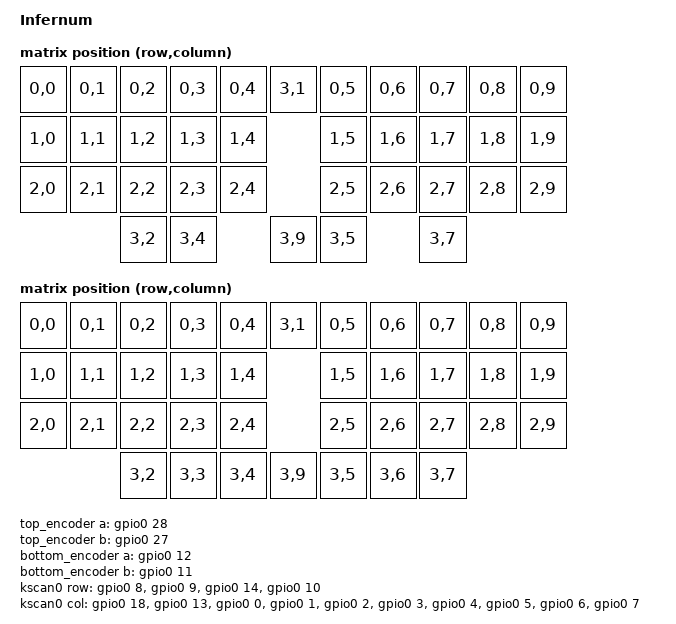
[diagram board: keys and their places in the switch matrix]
/*
 * Copyright (c) 2024 The ZMK Contributors
 * SPDX-License-Identifier: MIT
 */

/dts-v1/;

#include <rpi_pico/rp2040.dtsi>
#include <dt-bindings/zmk/matrix_transform.h>
#include <dt-bindings/led/led.h>
#include <dt-bindings/pinctrl/rpi-pico-rp2040-pinctrl.h>


/ {
    model = "Infernum";
	compatible = "raspberrypi,rp2040";

    chosen {
        zephyr,sram = &sram0;
        zephyr,flash = &flash0;
		zephyr,flash-controller = &ssi; //?? pete only
		// zephyr,console = &uart0; //?? pete only, but not sure whether special uart is needed for non-split
        zephyr,console = &cdc_acm_uart; //?? de60 only
        // zephyr,shell-uart = &cdc_acm_uart; //?? de60 only
        zephyr,code-partition = &code_partition;
        zmk,kscan = &kscan0;
        zmk,matrix-transform = &default_transform;
        // zmk,underglow = &ws2812; // de60 name
        zmk,underglow = &led_strip; // zmk docs name
    };

    xtal_clk: xtal-clk {
        compatible = "fixed-clock";
        clock-frequency = <12000000>;
        #clock-cells = <0>;
    };

    double_3u_transform: keymap_transform_0 {
        compatible = "zmk,matrix-transform";
        columns = <10>;
        rows = <4>;
        map = <
			RC(0,0) RC(0,1) RC(0,2) RC(0,3) RC(0,4) RC(3,1) RC(0,5) RC(0,6) RC(0,7) RC(0,8) RC(0,9)
			RC(1,0) RC(1,1) RC(1,2) RC(1,3) RC(1,4)         RC(1,5) RC(1,6) RC(1,7) RC(1,8) RC(1,9)
			RC(2,0) RC(2,1) RC(2,2) RC(2,3) RC(2,4)         RC(2,5) RC(2,6) RC(2,7) RC(2,8) RC(2,9)
			             RC(3,2)        RC(3,4)     RC(3,9)     RC(3,5)        RC(3,7) 
        >;
    };

    default_transform: keymap_transform_1 {
        compatible = "zmk,matrix-transform";
        columns = <10>;
        rows = <4>;
        map = <
			RC(0,0) RC(0,1) RC(0,2) RC(0,3) RC(0,4) RC(3,1) RC(0,5) RC(0,6) RC(0,7) RC(0,8) RC(0,9)
			RC(1,0) RC(1,1) RC(1,2) RC(1,3) RC(1,4)         RC(1,5) RC(1,6) RC(1,7) RC(1,8) RC(1,9)
			RC(2,0) RC(2,1) RC(2,2) RC(2,3) RC(2,4)         RC(2,5) RC(2,6) RC(2,7) RC(2,8) RC(2,9)
			             RC(3,2)  RC(3,3)  RC(3,4)  RC(3,9)  RC(3,5)  RC(3,6)  RC(3,7) 
        >;
    };
 
    top_encoder: top_encoder {
        compatible = "alps,ec11";
        a-gpios = <&gpio0 28 (GPIO_ACTIVE_HIGH | GPIO_PULL_UP)>;
        b-gpios = <&gpio0 27 (GPIO_ACTIVE_HIGH | GPIO_PULL_UP)>;
        // resolution = <4>;
        steps = <80>;
        status = "disabled";
    };

    bottom_encoder: bottom_encoder {
        compatible = "alps,ec11";
        a-gpios = <&gpio0 12 (GPIO_ACTIVE_HIGH | GPIO_PULL_UP)>;
        b-gpios = <&gpio0 11 (GPIO_ACTIVE_HIGH | GPIO_PULL_UP)>;
        // resolution = <4>;
        steps = <80>;
        status = "disabled";
    };

    sensors: sensors {
        compatible = "zmk,keymap-sensors";
        sensors = <&top_encoder &bottom_encoder>;
        triggers-per-rotation = <20>;
    };

    kscan0: kscan {
        compatible = "zmk,kscan-gpio-matrix";
        diode-direction = "col2row";
        wakeup-source;
        row-gpios
            = <&gpio0 8 (GPIO_ACTIVE_HIGH | GPIO_PULL_DOWN)>
            , <&gpio0 9 (GPIO_ACTIVE_HIGH | GPIO_PULL_DOWN)>
            , <&gpio0 14 (GPIO_ACTIVE_HIGH | GPIO_PULL_DOWN)>
            , <&gpio0 10 (GPIO_ACTIVE_HIGH | GPIO_PULL_DOWN)>
            ;
        col-gpios
            = <&gpio0 18 GPIO_ACTIVE_HIGH>
            , <&gpio0 13 GPIO_ACTIVE_HIGH>
            , <&gpio0 0 GPIO_ACTIVE_HIGH>
            , <&gpio0 1 GPIO_ACTIVE_HIGH>
            , <&gpio0 2 GPIO_ACTIVE_HIGH>
            , <&gpio0 3 GPIO_ACTIVE_HIGH>
            , <&gpio0 4 GPIO_ACTIVE_HIGH>
            , <&gpio0 5 GPIO_ACTIVE_HIGH>
            , <&gpio0 6 GPIO_ACTIVE_HIGH>
            , <&gpio0 7 GPIO_ACTIVE_HIGH>
            ;
    };
};

&flash0 {
	/* 8MB of flash minus the 0x100 used for
	 * the second stage bootloader
	 */
    reg = <0x10000000 DT_SIZE_M(16)>;

    partitions {
        compatible = "fixed-partitions";
        #address-cells = <1>;
        #size-cells = <1>;

        /* Reserved memory for the second stage bootloader */ //?? de60 only
        // second_stage_bootloader: partition@0 {
        //     reg = <0x00000000 0x100>;
        //     read-only;
        // };

		/*
		 * Start at the beginning of usable flash, 8MB minus the
		 * second stage space and the 16 KiB reserved for settings
		 */
        code_partition: partition@100 {
            reg = <0x100 (DT_SIZE_M(16) - 0x100 - DT_SIZE_K(512))>; //?? pete
            // reg = <0x100 (DT_SIZE_M(16) - 0x100)>; //?? de60
            read-only;
        };

		storage_partition: partition@180000 { //?? pete only
			reg = <0xf80000 DT_SIZE_K(512)>;
			read-only;
		};
    };
};


&usbd {
  status = "okay";
  cdc_acm_uart: cdc_acm_uart {
    compatible = "zephyr,cdc-acm-uart";
  };
};


//?? de60 only, seems needed for underglow(?)
&gpio0 {
    status = "okay";
};


// zmk docs implementation:
&pinctrl {
    pio0_spi0_default: pio0_spi0_default {
        group1 {
            pinmux = <PIO0_P0>;
        };
    };
};

&pio0 {
    status = "okay";

    pio0_spi0: pio0_spi0 {
        pinctrl-0 = <&pio0_spi0_default>;
        pinctrl-names = "default";

        compatible = "raspberrypi,pico-spi-pio";
        #address-cells = <1>;
        #size-cells = <0>;
        clocks = <&system_clk>;
        clock-frequency = <4000000>;

        clk-gpios = <&gpio0 15 GPIO_ACTIVE_HIGH>;  /* Must be defined. Select a pin that is not used elsewhere. */
        mosi-gpios = <&gpio0 29 GPIO_ACTIVE_HIGH>; /* Data In pin. */
        miso-gpios = <&gpio0 29 GPIO_ACTIVE_HIGH>; /* Must be defined. Re-using the DI pin is OK for WS2812. */

        led_strip: ws2812@0 {
            compatible = "worldsemi,ws2812-spi";

            /* SPI */
            reg = <0>; /* ignored, but necessary for SPI bindings */
            spi-max-frequency = <4000000>;

            /* WS2812 */
            chain-length = <22>; /* number of LEDs */
            spi-one-frame = <0x70>;
            spi-zero-frame = <0x40>;
            color-mapping = <LED_COLOR_ID_GREEN
                             LED_COLOR_ID_RED
                             LED_COLOR_ID_BLUE>;
        };
    };
};


// de60 implementation:
// &pinctrl {
// 	ws2812_pio0_default: ws2812_pio0_default {
// 		ws2812 {
// 			pinmux = <PIO0_P29>;
// 		};
// 	};
// };

// &pio0 {
// 	status = "okay";

// 	pio-ws2812 {
// 		compatible = "worldsemi,ws2812-rpi_pico-pio";
// 		status = "okay";
// 		pinctrl-0 = <&ws2812_pio0_default>;
// 		pinctrl-names = "default";
// 		bit-waveform = <3>, <3>, <4>;

// 		ws2812: ws2812 {
// 			status = "okay";
// 			gpios = <&gpio0 29 GPIO_ACTIVE_HIGH>;
// 			chain-length = <22>;
// 			color-mapping = <LED_COLOR_ID_GREEN
// 					 LED_COLOR_ID_RED
// 					 LED_COLOR_ID_BLUE>;
// 			reset-delay = <280>;
// 			frequency = <800000>;
// 		};
// 	};

    
// };
